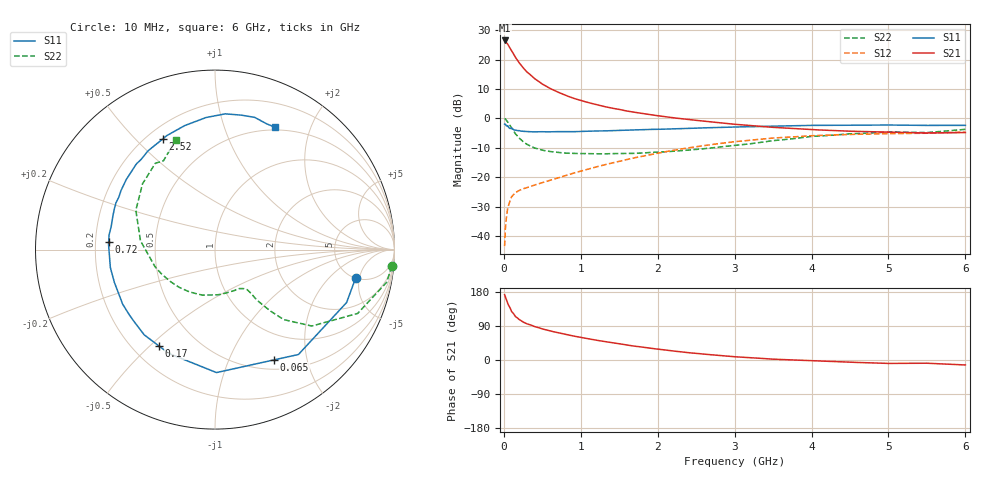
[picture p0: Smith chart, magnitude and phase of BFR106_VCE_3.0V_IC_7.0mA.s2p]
! Infineon Technologies  Discrete & RF Semiconductors
! BFR106
! VCE =  3.0 V,  IC =  7.0 mA
! Common Emitter S-Parameters:  Nov 2015
# GHz  S  MA  R  50
!  f  S11  S21  S12  S22
! GHz  MAG  ANG  MAG  ANG  MAG  ANG  MAG  ANG
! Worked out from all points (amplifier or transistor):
!   210 points, 10 MHz to 6 GHz, reference 50 ohm
!   highest |S21| = 26.5 dB at 10 MHz (marker M1)
!   |S21| within 3 dB of that: start of sweep to 88.85 MHz
!   unconditionally stable (mu >= 1): 551.2 MHz to 2.127 GHz; 4.79 GHz to end of sweep
!   at 185 MHz: K = 0.46, MSG = 22.1 dB, |S12| = -24.7 dB
!   at 1.52 GHz: K = 1.10, MAG = 6.8 dB, |S12| = -14.5 dB
!   at 6 GHz: K = 1.02, MAG = -0.9 dB, |S12| = -4.6 dB
!   S11 on the Smith chart (normalised r, x): 10 MHz: 5.03, -4.41; 65 MHz: 0.62, -1.48; 170 MHz: 0.31, -0.54; 720 MHz: 0.25, +0.03; 2.52 GHz: 0.26, +0.60; 6 GHz: 0.47, +1.50
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0.01  0.7995 -11.4  21.08 172.4  0.0067 85.3  0.9885 -5.4
0.02  0.7903 -21.9  20.65 166.5  0.0133 78.2  0.9744 -10.7
0.05  0.7468 -51.5  18.28 148.6  0.0297 64.9  0.8709 -24.1
0.065  0.6967 -61.9  16.86 143.6  0.0344 59.5  0.811 -27.7
0.1  0.6852 -89.3  14.19 128.4  0.0462 51.4  0.687 -38.3
0.15  0.6332 -113.9  10.9 114.9  0.0543 44.2  0.547 -45.5
0.17  0.6212 -120.1  10.03 112.0  0.0564 43.2  0.5129 -46.4
0.2  0.6174 -129.7  8.781 106.7  0.0595 41.8  0.4619 -47.9
0.24  0.6028 -138.9  7.534 101.6  0.0625 41.2  0.4112 -49.1
0.3  0.5975 -149.4  6.143 95.5  0.0666 41.9  0.3616 -50.3
0.4  0.5897 -162.0  4.727 88.2  0.0734 44.1  0.3127 -50.6
0.5  0.5915 -170.3  3.821 82.0  0.0804 46.9  0.2868 -51.2
0.6  0.5892 -177.6  3.226 76.7  0.0883 49.8  0.2723 -53.0
0.72  0.5941 176.0  2.731 71.1  0.0988 52.5  0.2619 -56.1
1.02  0.5989 161.8  1.976 58.9  0.1287 57.4  0.252 -65.0
1.4  0.6186 147.8  1.492 46.0  0.1732 59.3  0.2514 -81.0
2.02  0.6505 128.9  1.098 28.2  0.2585 56.1  0.2663 -112.1
2.52  0.6823 115.1  0.918 17.1  0.332 49.7  0.297 -139.3
3.1  0.7148 101.7  0.773 7.4  0.4116 40.0  0.3566 -169.3
4.1  0.7586 84.3  0.634 -2.7  0.5104 22.0  0.4997 150.2
5.1  0.7663 72.2  0.578 -8.9  0.5507 7.1  0.5818 123.8
6  0.7591 63.9  0.572 -13.1  0.5856 -3.6  0.65 109.5
